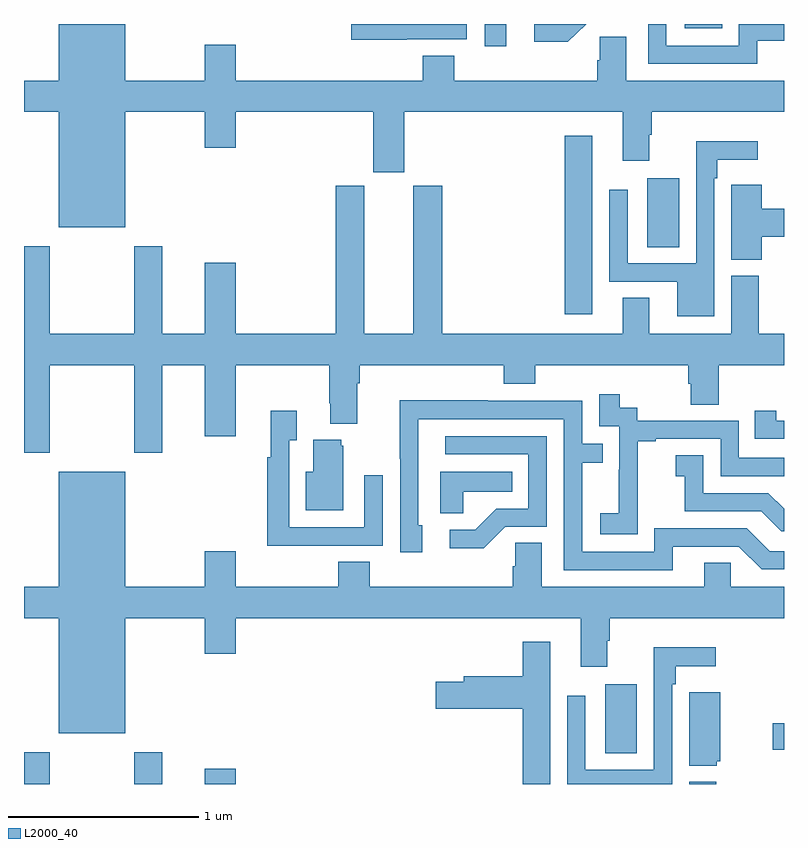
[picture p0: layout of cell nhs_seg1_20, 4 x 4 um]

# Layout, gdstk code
import gdstk
lib = gdstk.Library(unit=1e-6, precision=1e-09)
def R(c, l, rs):  # rectangles x0, y0, x1, y1
    for r in rs: c.add(gdstk.rectangle(r[:2], r[2:], *l))
def P(c, l, *ps):  # polygons
    for p in ps: c.add(gdstk.Polygon(p, *l))
L2000_40 = (2000, 40)

nhs_seg1_20 = lib.new_cell('nhs_seg1_20')
R(nhs_seg1_20, L2000_40, [(111,544.199,111.135,544.366), (111.58,544.199,111.727,544.366), (111.95,544.199,112.114,544.279), (114.5,544.199,114.644,544.21), (114.059,544.36,114.226,544.723), (114.942,544.378,115,544.52), (113.846,546.672,113.992,547.612), (114.281,547.024,114.448,547.387), (113.424,548.082,113.539,548.199), (114.477,548.177,114.675,548.199)])
P(nhs_seg1_20, L2000_40, [(114.859,548.112),(115,548.112),(115,548.199),(114.762,548.199),(114.762,548.085),(114.381,548.085),(114.381,548.199),(114.285,548.199),(114.285,547.989),(114.859,547.989)],
  [(111.532,547.736),(111.95,547.736),(111.95,547.548),(112.114,547.548),(112.114,547.736),(112.838,547.736),(112.838,547.419),(113.002,547.419),(113.002,547.736),(114.152,547.736),(114.152,547.479),(114.292,547.479),(114.292,547.616),(114.305,547.616),(114.305,547.736),(115,547.736),(115,547.9),(114.169,547.9),(114.169,548.132),(114.03,548.132),(114.03,548.009),(114.017,548.009),(114.017,547.9),(113.264,547.9),(113.264,548.033),(113.099,548.033),(113.099,547.9),(112.114,547.9),(112.114,548.089),(111.95,548.089),(111.95,547.9),(111.532,547.9),(111.532,548.199),(111.182,548.199),(111.182,547.9),(111,547.9),(111,547.736),(111.182,547.736),(111.182,547.13),(111.532,547.13)],
  [(113.015,548.118),(113.331,548.118),(113.331,548.199),(112.723,548.199),(112.723,548.117),(113.015,548.117)],
  [(113.958,548.199),(113.685,548.199),(113.685,548.105),(113.863,548.105)],
  [(114.633,547.388),(114.649,547.388),(114.649,547.484),(114.862,547.484),(114.862,547.582),(114.537,547.582),(114.537,546.939),(114.177,546.939),(114.177,547.327),(114.081,547.327),(114.081,546.843),(114.437,546.843),(114.437,546.662),(114.633,546.662)],
  [(114.884,547.079),(115,547.079),(115,547.226),(114.884,547.226),(114.884,547.354),(114.723,547.354),(114.723,547.241),(114.722,547.241),(114.722,546.958),(114.884,546.958)],
  [(111.135,546.404),(111.58,546.404),(111.58,545.943),(111.727,545.943),(111.727,546.404),(111.95,546.404),(111.95,546.03),(112.114,546.03),(112.114,546.404),(112.606,546.404),(112.606,546.202),(112.613,546.202),(112.613,546.095),(112.753,546.095),(112.753,546.308),(112.766,546.308),(112.766,546.404),(113.525,546.404),(113.525,546.305),(113.69,546.305),(113.69,546.404),(114.497,546.404),(114.497,546.306),(114.509,546.306),(114.509,546.196),(114.657,546.196),(114.657,546.404),(115,546.404),(115,546.568),(114.866,546.568),(114.866,546.873),(114.722,546.873),(114.722,546.568),(114.292,546.568),(114.292,546.758),(114.152,546.758),(114.152,546.568),(113.201,546.568),(113.201,547.347),(113.048,547.347),(113.048,546.568),(112.792,546.568),(112.792,547.347),(112.64,547.347),(112.64,546.568),(112.114,546.568),(112.114,546.943),(111.95,546.943),(111.95,546.568),(111.727,546.568),(111.727,547.03),(111.58,547.03),(111.58,546.568),(111.135,546.568),(111.135,547.03),(111,547.03),(111,545.943),(111.135,545.943)],
  [(114.231,545.719),(114.23,545.719),(114.23,546.003),(114.325,546.003),(114.325,546.015),(114.666,546.015),(114.666,545.82),(115,545.82),(115,545.916),(114.762,545.916),(114.762,546.111),(114.228,546.111),(114.228,546.18),(114.136,546.18),(114.136,546.25),(114.027,546.25),(114.027,546.081),(114.132,546.081),(114.132,545.852),(114.131,545.852),(114.131,545.623),(114.033,545.623),(114.033,545.513),(114.231,545.513)],
  [(114.415,545.448),(114.762,545.448),(114.882,545.328),(115,545.328),(115,545.424),(114.924,545.424),(114.804,545.544),(114.318,545.544),(114.318,545.421),(113.937,545.421),(113.937,545.89),(114.047,545.89),(114.047,545.991),(113.937,545.991),(113.937,546.216),(113.441,546.216),(113.441,546.218),(112.978,546.218),(112.978,545.911),(112.98,545.911),(112.98,545.418),(113.095,545.418),(113.095,545.562),(113.076,545.562),(113.076,546.12),(113.841,546.12),(113.841,545.325),(114.415,545.325)],
  [(115,546.111),(114.958,546.111),(114.958,546.163),(114.847,546.163),(114.847,546.015),(115,546.015)],
  [(112.571,545.454),(112.887,545.454),(112.887,545.824),(112.791,545.824),(112.791,545.55),(112.395,545.55),(112.395,546.007),(112.435,546.007),(112.435,546.163),(112.298,546.163),(112.298,545.918),(112.279,545.918),(112.279,545.453),(112.571,545.453)],
  [(113.532,545.553),(113.751,545.553),(113.751,546.03),(113.217,546.03),(113.217,545.934),(113.655,545.934),(113.655,545.649),(113.486,545.649),(113.375,545.538),(113.241,545.538),(113.241,545.441),(113.419,545.441)],
  [(112.681,545.979),(112.67,545.979),(112.67,546.01),(112.523,546.01),(112.523,545.842),(112.484,545.842),(112.484,545.639),(112.681,545.639)],
  [(115,545.648),(114.918,545.73),(114.576,545.73),(114.576,545.929),(114.429,545.929),(114.429,545.819),(114.478,545.819),(114.478,545.634),(114.881,545.634),(114.986,545.529),(115,545.529)],
  [(113.313,545.738),(113.57,545.738),(113.57,545.842),(113.192,545.842),(113.192,545.623),(113.313,545.623)],
  [(111.532,545.072),(111.95,545.072),(111.95,544.884),(112.114,544.884),(112.114,545.072),(113.93,545.072),(113.93,544.815),(114.07,544.815),(114.07,544.952),(114.083,544.952),(114.083,545.072),(115,545.072),(115,545.236),(114.72,545.236),(114.72,545.363),(114.581,545.363),(114.581,545.236),(113.725,545.236),(113.725,545.468),(113.586,545.468),(113.586,545.345),(113.573,545.345),(113.573,545.236),(112.82,545.236),(112.82,545.369),(112.655,545.369),(112.655,545.236),(112.114,545.236),(112.114,545.425),(111.95,545.425),(111.95,545.236),(111.532,545.236),(111.532,545.842),(111.182,545.842),(111.182,545.236),(111,545.236),(111,545.072),(111.182,545.072),(111.182,544.466),(111.532,544.466)],
  [(113.77,544.948),(113.624,544.948),(113.624,544.767),(113.315,544.767),(113.315,544.737),(113.166,544.737),(113.166,544.595),(113.624,544.595),(113.624,544.199),(113.77,544.199)],
  [(114.411,544.724),(114.431,544.724),(114.431,544.82),(114.64,544.82),(114.64,544.918),(114.315,544.918),(114.315,544.275),(113.955,544.275),(113.955,544.663),(113.859,544.663),(113.859,544.199),(114.411,544.199)],
  [(114.645,544.32),(114.664,544.32),(114.664,544.681),(114.5,544.681),(114.5,544.295),(114.645,544.295)])

lib.write_gds('nhs_seg1_20.gds')
